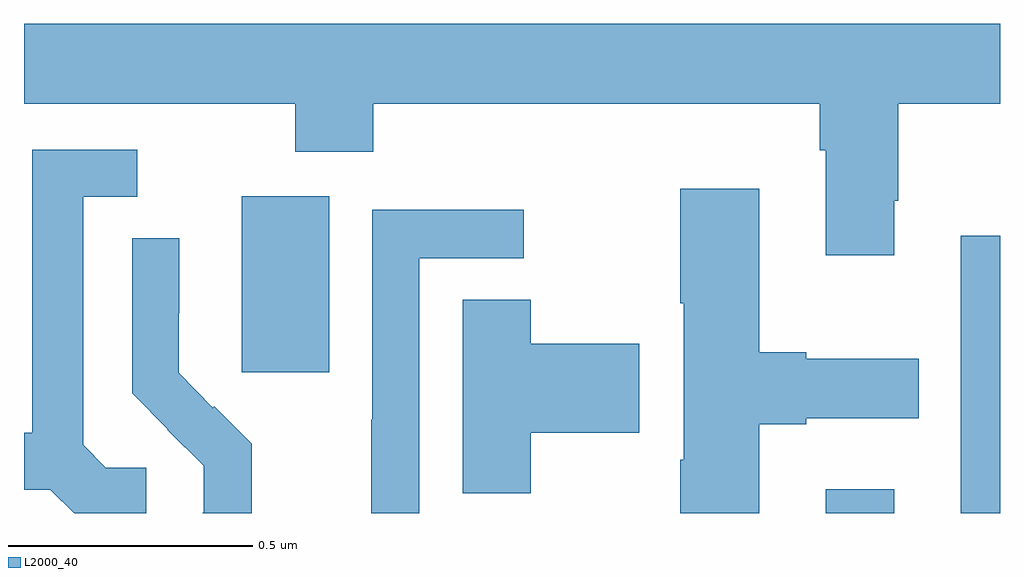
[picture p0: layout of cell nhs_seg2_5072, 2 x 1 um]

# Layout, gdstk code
import gdstk
lib = gdstk.Library(unit=1e-6, precision=1e-09)
def R(c, l, rs):  # rectangles x0, y0, x1, y1
    for r in rs: c.add(gdstk.rectangle(r[:2], r[2:], *l))
def P(c, l, *ps):  # polygons
    for p in ps: c.add(gdstk.Polygon(p, *l))
L2000_40 = (2000, 40)

nhs_seg2_5072 = lib.new_cell('nhs_seg2_5072')
R(nhs_seg2_5072, L2000_40, [(175.643,642.8,175.783,642.85), (175.92,642.8,176,643.369), (174.446,643.089,174.625,643.45)])
P(nhs_seg2_5072, L2000_40, [(175.783,643.441),(175.791,643.441),(175.791,643.64),(176,643.64),(176,643.804),(174,643.804),(174,643.64),(174.556,643.64),(174.556,643.541),(174.716,643.541),(174.716,643.64),(175.631,643.64),(175.631,643.544),(175.643,643.544),(175.643,643.329),(175.783,643.329)],
  [(174.25,642.894),(174.168,642.894),(174.121,642.941),(174.121,643.449),(174.232,643.449),(174.232,643.545),(174.017,643.545),(174.017,642.965),(174,642.965),(174,642.849),(174.054,642.849),(174.103,642.8),(174.25,642.8)],
  [(175.507,642.983),(175.603,642.983),(175.603,642.995),(175.834,642.995),(175.834,643.117),(175.603,643.117),(175.603,643.13),(175.507,643.13),(175.507,643.465),(175.345,643.465),(175.345,643.231),(175.352,643.231),(175.352,642.91),(175.345,642.91),(175.345,642.8),(175.507,642.8)],
  [(174.81,643.323),(175.024,643.323),(175.024,643.422),(174.714,643.422),(174.714,642.992),(174.712,642.992),(174.712,642.8),(174.81,642.8)],
  [(174.467,642.943),(174.39,643.02),(174.387,643.017),(174.317,643.088),(174.317,643.21),(174.318,643.21),(174.318,643.364),(174.222,643.364),(174.222,643.046),(174.295,642.973),(174.294,642.972),(174.368,642.898),(174.368,642.801),(174.366,642.801),(174.366,642.8),(174.467,642.8)],
  [(175.038,642.965),(175.261,642.965),(175.261,643.148),(175.038,643.148),(175.038,643.238),(174.899,643.238),(174.899,642.841),(175.038,642.841)])

lib.write_gds('nhs_seg2_5072.gds')
